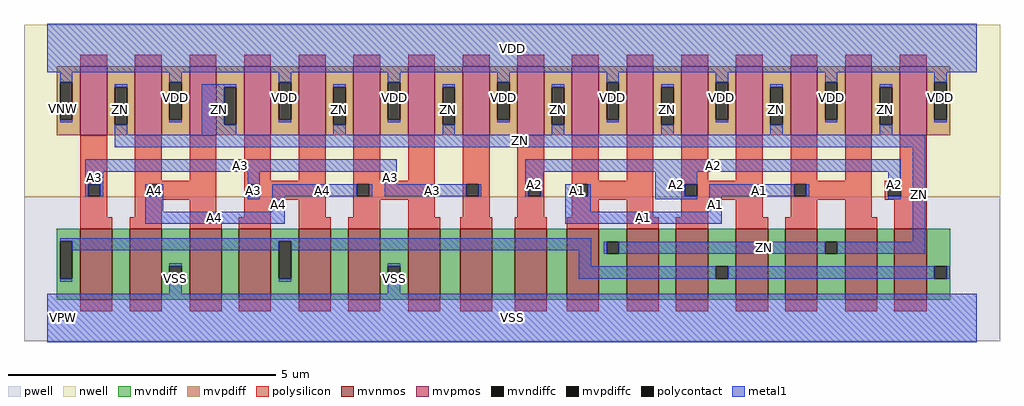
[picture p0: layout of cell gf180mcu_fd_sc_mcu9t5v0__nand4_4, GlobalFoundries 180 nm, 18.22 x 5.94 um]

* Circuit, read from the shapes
.subckt gf180mcu_fd_sc_mcu9t5v0__nand4_4 A1 A2 A3 A4 ZN VDD VNW VPW VSS
XM1 n1 A3 n2 VPW nfet_06v0 w=1.32u l=0.6u
XM2 VSS A4 n1 VPW nfet_06v0 w=1.32u l=0.6u
XM3 n3 A4 VSS VPW nfet_06v0 w=1.32u l=0.6u
XM4 n2 A3 n3 VPW nfet_06v0 w=1.32u l=0.6u
XM5 n4 A3 n2 VPW nfet_06v0 w=1.32u l=0.6u
XM6 VSS A4 n4 VPW nfet_06v0 w=1.32u l=0.6u
XM7 n5 A4 VSS VPW nfet_06v0 w=1.32u l=0.6u
XM8 n6 A3 n5 VPW nfet_06v0 w=1.32u l=0.6u
XM9 n7 A2 n6 VPW nfet_06v0 w=1.32u l=0.6u
XM10 ZN A1 n7 VPW nfet_06v0 w=1.32u l=0.6u
XM11 n8 A1 ZN VPW nfet_06v0 w=1.32u l=0.6u
XM12 n2 A2 n8 VPW nfet_06v0 w=1.32u l=0.6u
XM13 n9 A2 n2 VPW nfet_06v0 w=1.32u l=0.6u
XM14 ZN A1 n9 VPW nfet_06v0 w=1.32u l=0.6u
XM15 n10 A1 ZN VPW nfet_06v0 w=1.32u l=0.6u
XM16 n2 A2 n10 VPW nfet_06v0 w=1.32u l=0.6u
XM17 ZN A3 VDD VNW pfet_06v0 w=1.28u l=0.5u m=4
XM18 VDD A4 ZN VNW pfet_06v0 w=1.28u l=0.5u m=4
XM19 ZN A2 VDD VNW pfet_06v0 w=1.28u l=0.5u m=4
XM20 VDD A1 ZN VNW pfet_06v0 w=1.28u l=0.5u m=4
.ends

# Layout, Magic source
magic
tech gf180mcuD
magscale 1 10
<< nwell >>
rect -86 453 3558 1094
<< pwell >>
rect -86 -86 3558 453
<< mvnmos >>
rect 124 69 244 333
rect 308 69 428 333
rect 532 69 652 333
rect 716 69 836 333
rect 940 69 1060 333
rect 1124 69 1244 333
rect 1348 69 1468 333
rect 1542 69 1662 333
rect 1746 69 1866 333
rect 1940 69 2060 333
rect 2164 69 2284 333
rect 2348 69 2468 333
rect 2572 69 2692 333
rect 2756 69 2876 333
rect 2980 69 3100 333
rect 3164 69 3284 333
<< mvpmos >>
rect 124 683 224 939
rect 328 683 428 939
rect 532 683 632 939
rect 736 683 836 939
rect 940 683 1040 939
rect 1144 683 1244 939
rect 1348 683 1448 939
rect 1552 683 1652 939
rect 1756 683 1856 939
rect 1960 683 2060 939
rect 2164 683 2264 939
rect 2368 683 2468 939
rect 2572 683 2672 939
rect 2776 683 2876 939
rect 2980 683 3080 939
rect 3184 683 3284 939
<< mvndiff >>
rect 36 287 124 333
rect 36 147 49 287
rect 95 147 124 287
rect 36 69 124 147
rect 244 69 308 333
rect 428 193 532 333
rect 428 147 457 193
rect 503 147 532 193
rect 428 69 532 147
rect 652 69 716 333
rect 836 287 940 333
rect 836 147 865 287
rect 911 147 940 287
rect 836 69 940 147
rect 1060 69 1124 333
rect 1244 193 1348 333
rect 1244 147 1273 193
rect 1319 147 1348 193
rect 1244 69 1348 147
rect 1468 69 1542 333
rect 1662 69 1746 333
rect 1866 69 1940 333
rect 2060 285 2164 333
rect 2060 239 2089 285
rect 2135 239 2164 285
rect 2060 69 2164 239
rect 2284 69 2348 333
rect 2468 193 2572 333
rect 2468 147 2497 193
rect 2543 147 2572 193
rect 2468 69 2572 147
rect 2692 69 2756 333
rect 2876 285 2980 333
rect 2876 239 2905 285
rect 2951 239 2980 285
rect 2876 69 2980 239
rect 3100 69 3164 333
rect 3284 193 3372 333
rect 3284 147 3313 193
rect 3359 147 3372 193
rect 3284 69 3372 147
<< mvpdiff >>
rect 36 881 124 939
rect 36 741 49 881
rect 95 741 124 881
rect 36 683 124 741
rect 224 861 328 939
rect 224 721 253 861
rect 299 721 328 861
rect 224 683 328 721
rect 428 881 532 939
rect 428 741 457 881
rect 503 741 532 881
rect 428 683 532 741
rect 632 861 736 939
rect 632 721 661 861
rect 707 721 736 861
rect 632 683 736 721
rect 836 881 940 939
rect 836 741 865 881
rect 911 741 940 881
rect 836 683 940 741
rect 1040 861 1144 939
rect 1040 721 1069 861
rect 1115 721 1144 861
rect 1040 683 1144 721
rect 1244 881 1348 939
rect 1244 741 1273 881
rect 1319 741 1348 881
rect 1244 683 1348 741
rect 1448 861 1552 939
rect 1448 721 1477 861
rect 1523 721 1552 861
rect 1448 683 1552 721
rect 1652 881 1756 939
rect 1652 741 1681 881
rect 1727 741 1756 881
rect 1652 683 1756 741
rect 1856 861 1960 939
rect 1856 721 1885 861
rect 1931 721 1960 861
rect 1856 683 1960 721
rect 2060 881 2164 939
rect 2060 741 2089 881
rect 2135 741 2164 881
rect 2060 683 2164 741
rect 2264 861 2368 939
rect 2264 721 2293 861
rect 2339 721 2368 861
rect 2264 683 2368 721
rect 2468 881 2572 939
rect 2468 741 2497 881
rect 2543 741 2572 881
rect 2468 683 2572 741
rect 2672 861 2776 939
rect 2672 721 2701 861
rect 2747 721 2776 861
rect 2672 683 2776 721
rect 2876 881 2980 939
rect 2876 741 2905 881
rect 2951 741 2980 881
rect 2876 683 2980 741
rect 3080 861 3184 939
rect 3080 721 3109 861
rect 3155 721 3184 861
rect 3080 683 3184 721
rect 3284 881 3372 939
rect 3284 741 3313 881
rect 3359 741 3372 881
rect 3284 683 3372 741
<< mvndiffc >>
rect 49 147 95 287
rect 457 147 503 193
rect 865 147 911 287
rect 1273 147 1319 193
rect 2089 239 2135 285
rect 2497 147 2543 193
rect 2905 239 2951 285
rect 3313 147 3359 193
<< mvpdiffc >>
rect 49 741 95 881
rect 253 721 299 861
rect 457 741 503 881
rect 661 721 707 861
rect 865 741 911 881
rect 1069 721 1115 861
rect 1273 741 1319 881
rect 1477 721 1523 861
rect 1681 741 1727 881
rect 1885 721 1931 861
rect 2089 741 2135 881
rect 2293 721 2339 861
rect 2497 741 2543 881
rect 2701 721 2747 861
rect 2905 741 2951 881
rect 3109 721 3155 861
rect 3313 741 3359 881
<< polysilicon >>
rect 124 939 224 983
rect 328 939 428 983
rect 532 939 632 983
rect 736 939 836 983
rect 940 939 1040 983
rect 1144 939 1244 983
rect 1348 939 1448 983
rect 1552 939 1652 983
rect 1756 939 1856 983
rect 1960 939 2060 983
rect 2164 939 2264 983
rect 2368 939 2468 983
rect 2572 939 2672 983
rect 2776 939 2876 983
rect 2980 939 3080 983
rect 3184 939 3284 983
rect 124 500 224 683
rect 124 454 153 500
rect 199 454 224 500
rect 124 377 224 454
rect 328 513 428 683
rect 532 513 632 683
rect 328 500 632 513
rect 328 454 377 500
rect 423 454 632 500
rect 328 441 632 454
rect 328 377 428 441
rect 124 333 244 377
rect 308 333 428 377
rect 532 377 632 441
rect 736 513 836 683
rect 940 513 1040 683
rect 736 500 1040 513
rect 736 454 749 500
rect 795 454 1040 500
rect 736 441 1040 454
rect 736 377 836 441
rect 532 333 652 377
rect 716 333 836 377
rect 940 377 1040 441
rect 1144 513 1244 683
rect 1348 513 1448 683
rect 1144 500 1448 513
rect 1144 454 1157 500
rect 1203 454 1448 500
rect 1144 441 1448 454
rect 1144 377 1244 441
rect 940 333 1060 377
rect 1124 333 1244 377
rect 1348 377 1448 441
rect 1552 500 1652 683
rect 1552 454 1565 500
rect 1611 454 1652 500
rect 1552 377 1652 454
rect 1756 500 1856 683
rect 1756 454 1797 500
rect 1843 454 1856 500
rect 1756 377 1856 454
rect 1960 513 2060 683
rect 2164 513 2264 683
rect 1960 500 2264 513
rect 1960 454 1973 500
rect 2019 454 2264 500
rect 1960 441 2264 454
rect 1960 377 2060 441
rect 1348 333 1468 377
rect 1542 333 1662 377
rect 1746 333 1866 377
rect 1940 333 2060 377
rect 2164 377 2264 441
rect 2368 513 2468 683
rect 2572 513 2672 683
rect 2368 500 2672 513
rect 2368 454 2381 500
rect 2427 454 2672 500
rect 2368 441 2672 454
rect 2368 377 2468 441
rect 2164 333 2284 377
rect 2348 333 2468 377
rect 2572 377 2672 441
rect 2776 513 2876 683
rect 2980 513 3080 683
rect 3184 513 3284 683
rect 2776 500 3080 513
rect 2776 454 2789 500
rect 2835 454 3080 500
rect 2776 441 3080 454
rect 3128 500 3284 513
rect 3128 454 3141 500
rect 3187 454 3284 500
rect 3128 441 3284 454
rect 2776 377 2876 441
rect 2572 333 2692 377
rect 2756 333 2876 377
rect 2980 377 3080 441
rect 2980 333 3100 377
rect 3164 333 3284 441
rect 124 25 244 69
rect 308 25 428 69
rect 532 25 652 69
rect 716 25 836 69
rect 940 25 1060 69
rect 1124 25 1244 69
rect 1348 25 1468 69
rect 1542 25 1662 69
rect 1746 25 1866 69
rect 1940 25 2060 69
rect 2164 25 2284 69
rect 2348 25 2468 69
rect 2572 25 2692 69
rect 2756 25 2876 69
rect 2980 25 3100 69
rect 3164 25 3284 69
<< polycontact >>
rect 153 454 199 500
rect 377 454 423 500
rect 749 454 795 500
rect 1157 454 1203 500
rect 1565 454 1611 500
rect 1797 454 1843 500
rect 1973 454 2019 500
rect 2381 454 2427 500
rect 2789 454 2835 500
rect 3141 454 3187 500
<< metal1 >>
rect 0 918 3472 1098
rect 49 881 95 918
rect 457 881 503 918
rect 49 730 95 741
rect 253 861 299 872
rect 865 881 911 918
rect 457 730 503 741
rect 578 861 707 872
rect 253 684 299 721
rect 578 721 661 861
rect 1273 881 1319 918
rect 865 730 911 741
rect 1069 861 1115 872
rect 578 684 707 721
rect 1681 881 1727 918
rect 1273 730 1319 741
rect 1477 861 1523 872
rect 1069 684 1115 721
rect 2089 881 2135 918
rect 1681 730 1727 741
rect 1885 861 1931 872
rect 1477 684 1523 721
rect 2497 881 2543 918
rect 2089 730 2135 741
rect 2293 861 2339 872
rect 1885 684 1931 721
rect 2905 881 2951 918
rect 2497 730 2543 741
rect 2701 861 2747 872
rect 2293 684 2339 721
rect 3313 881 3359 918
rect 2905 730 2951 741
rect 3109 861 3155 872
rect 2701 684 2747 721
rect 3313 730 3359 741
rect 3109 684 3155 721
rect 253 638 3279 684
rect 142 546 1306 592
rect 142 500 210 546
rect 749 500 795 546
rect 1260 500 1306 546
rect 1786 546 3187 592
rect 1786 500 1854 546
rect 2270 500 2427 546
rect 3141 500 3187 546
rect 142 454 153 500
rect 199 454 210 500
rect 366 454 377 500
rect 423 454 434 500
rect 366 397 434 454
rect 749 443 795 454
rect 841 454 1157 500
rect 1203 454 1214 500
rect 1260 454 1565 500
rect 1611 454 1622 500
rect 1786 454 1797 500
rect 1843 454 1854 500
rect 1934 454 1973 500
rect 2019 454 2030 500
rect 841 397 887 454
rect 366 351 887 397
rect 1934 397 2030 454
rect 2270 454 2381 500
rect 2270 443 2427 454
rect 2473 454 2789 500
rect 2835 454 2846 500
rect 2473 397 2519 454
rect 3141 443 3187 454
rect 1934 351 2519 397
rect 49 287 2032 298
rect 95 252 865 287
rect 49 136 95 147
rect 457 193 503 204
rect 457 90 503 147
rect 911 252 2032 287
rect 3233 285 3279 638
rect 865 136 911 147
rect 1273 193 1319 204
rect 1986 193 2032 252
rect 2078 239 2089 285
rect 2135 239 2905 285
rect 2951 239 3279 285
rect 1986 147 2497 193
rect 2543 147 3313 193
rect 3359 147 3370 193
rect 1273 90 1319 147
rect 0 -90 3472 90
<< labels >>
flabel metal1 s 2473 454 2846 500 0 FreeSans 200 0 0 0 A1
port 1 nsew default input
flabel metal1 s 1786 546 3187 592 0 FreeSans 200 0 0 0 A2
port 2 nsew default input
flabel metal1 s 142 546 1306 592 0 FreeSans 200 0 0 0 A3
port 3 nsew default input
flabel metal1 s 841 454 1214 500 0 FreeSans 200 0 0 0 A4
port 4 nsew default input
flabel metal1 s 0 918 3472 1098 0 FreeSans 200 0 0 0 VDD
port 6 nsew power bidirectional abutment
flabel metal1 s 1273 90 1319 204 0 FreeSans 200 0 0 0 VSS
port 9 nsew ground bidirectional abutment
flabel metal1 s 3109 684 3155 872 0 FreeSans 200 0 0 0 ZN
port 5 nsew default output
flabel nwell s 10 734 110 834 0 FreeSans 400 0 0 0 VNW
port 7 nsew power bidirectional
flabel pwell s 10 -50 110 50 0 FreeSans 400 0 0 0 VPW
port 8 nsew ground bidirectional
rlabel metal1 s 1934 454 2030 500 1 A1
port 1 nsew default input
rlabel metal1 s 2473 397 2519 454 1 A1
port 1 nsew default input
rlabel metal1 s 1934 397 2030 454 1 A1
port 1 nsew default input
rlabel metal1 s 1934 351 2519 397 1 A1
port 1 nsew default input
rlabel metal1 s 3141 454 3187 546 1 A2
port 2 nsew default input
rlabel metal1 s 2270 454 2427 546 1 A2
port 2 nsew default input
rlabel metal1 s 1786 454 1854 546 1 A2
port 2 nsew default input
rlabel metal1 s 3141 443 3187 454 1 A2
port 2 nsew default input
rlabel metal1 s 2270 443 2427 454 1 A2
port 2 nsew default input
rlabel metal1 s 1260 500 1306 546 1 A3
port 3 nsew default input
rlabel metal1 s 749 500 795 546 1 A3
port 3 nsew default input
rlabel metal1 s 142 500 210 546 1 A3
port 3 nsew default input
rlabel metal1 s 1260 454 1622 500 1 A3
port 3 nsew default input
rlabel metal1 s 749 454 795 500 1 A3
port 3 nsew default input
rlabel metal1 s 142 454 210 500 1 A3
port 3 nsew default input
rlabel metal1 s 749 443 795 454 1 A3
port 3 nsew default input
rlabel metal1 s 366 454 434 500 1 A4
port 4 nsew default input
rlabel metal1 s 841 397 887 454 1 A4
port 4 nsew default input
rlabel metal1 s 366 397 434 454 1 A4
port 4 nsew default input
rlabel metal1 s 366 351 887 397 1 A4
port 4 nsew default input
rlabel metal1 s 2701 684 2747 872 1 ZN
port 5 nsew default output
rlabel metal1 s 2293 684 2339 872 1 ZN
port 5 nsew default output
rlabel metal1 s 1885 684 1931 872 1 ZN
port 5 nsew default output
rlabel metal1 s 1477 684 1523 872 1 ZN
port 5 nsew default output
rlabel metal1 s 1069 684 1115 872 1 ZN
port 5 nsew default output
rlabel metal1 s 578 684 707 872 1 ZN
port 5 nsew default output
rlabel metal1 s 253 684 299 872 1 ZN
port 5 nsew default output
rlabel metal1 s 253 638 3279 684 1 ZN
port 5 nsew default output
rlabel metal1 s 3233 285 3279 638 1 ZN
port 5 nsew default output
rlabel metal1 s 2078 239 3279 285 1 ZN
port 5 nsew default output
rlabel metal1 s 3313 730 3359 918 1 VDD
port 6 nsew power bidirectional abutment
rlabel metal1 s 2905 730 2951 918 1 VDD
port 6 nsew power bidirectional abutment
rlabel metal1 s 2497 730 2543 918 1 VDD
port 6 nsew power bidirectional abutment
rlabel metal1 s 2089 730 2135 918 1 VDD
port 6 nsew power bidirectional abutment
rlabel metal1 s 1681 730 1727 918 1 VDD
port 6 nsew power bidirectional abutment
rlabel metal1 s 1273 730 1319 918 1 VDD
port 6 nsew power bidirectional abutment
rlabel metal1 s 865 730 911 918 1 VDD
port 6 nsew power bidirectional abutment
rlabel metal1 s 457 730 503 918 1 VDD
port 6 nsew power bidirectional abutment
rlabel metal1 s 49 730 95 918 1 VDD
port 6 nsew power bidirectional abutment
rlabel metal1 s 457 90 503 204 1 VSS
port 9 nsew ground bidirectional abutment
rlabel metal1 s 0 -90 3472 90 1 VSS
port 9 nsew ground bidirectional abutment
<< properties >>
string FIXED_BBOX 0 0 3472 1008
string GDS_END 74330
string GDS_FILE $PDKPATH/libs.ref/gf180mcu_fd_sc_mcu9t5v0/gds/gf180mcu_fd_sc_mcu9t5v0.gds
string GDS_START 66618
string LEFclass core
string LEFsite GF018hv5v_green_sc9
string LEFsymmetry X Y
<< end >>
